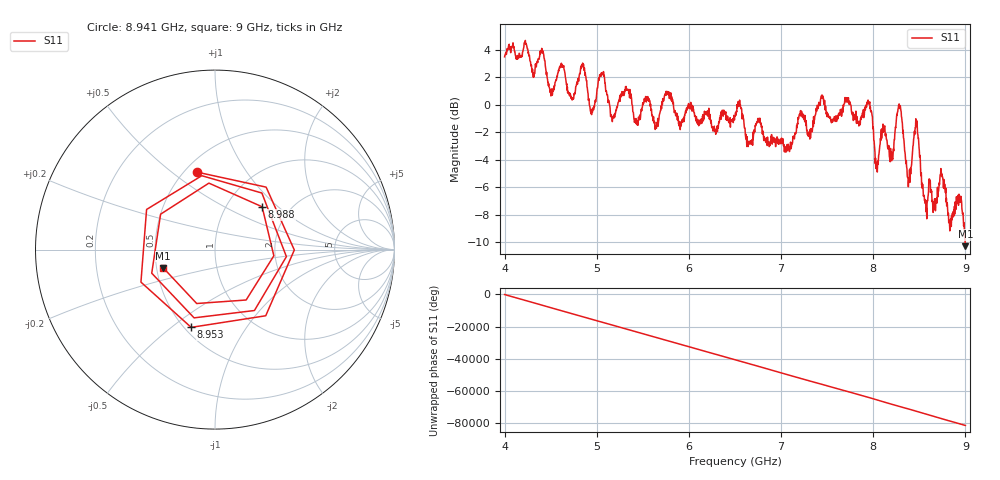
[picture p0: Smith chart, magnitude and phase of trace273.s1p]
! Created with skrf 1.8.0 (http://scikit-rf.org).
# Hz S RI R 50.0
!freq ReS11 ImS11
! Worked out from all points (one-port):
!   1601 points, 4 GHz to 9 GHz, reference 50 ohm
!   lowest |S11| = -10.3 dB at 9 GHz (marker M1), VSWR 1.88, Z = 27.1 - j6.1 ohm
!   |S11| at or under -10 dB: 8.997251 GHz to end of sweep
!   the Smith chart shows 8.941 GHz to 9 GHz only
!   S11 on the Smith chart (normalised r, x): 8.941 GHz: 0.58, +0.62; 8.953 GHz: 0.54, -0.59; 8.988 GHz: 1.46, +0.79; 9 GHz: 0.54, -0.12
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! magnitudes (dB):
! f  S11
! 4 GHz  3.5
! 4.406 GHz  4.0
! 4.506 GHz  0.7
! 4.625 GHz  2.9
! 4.728 GHz  0.5
! 4.85 GHz  2.7
! 4.944 GHz  -0.7
! 5.056 GHz  2.1
! 5.172 GHz  -0.9
! 5.25 GHz  0.6
! 5.875 GHz  -1.1
! 6.5 GHz  -0.9
! 7.125 GHz  -2.7
! 7.434 GHz  0.6
! 7.75 GHz  0.1
! 7.956 GHz  0.1
! 8.041 GHz  -4.2
! 8.112 GHz  -2.0
! 8.2 GHz  -4.1
! 8.288 GHz  -0.1
! 8.375 GHz  -5.3
! 8.466 GHz  -1.4
! 8.566 GHz  -7.2
! 8.741 GHz  -5.0
! 8.941 GHz  -7.1
! 8.953 GHz  -6.9
! 8.988 GHz  -9.0
! 9 GHz  -10.3
